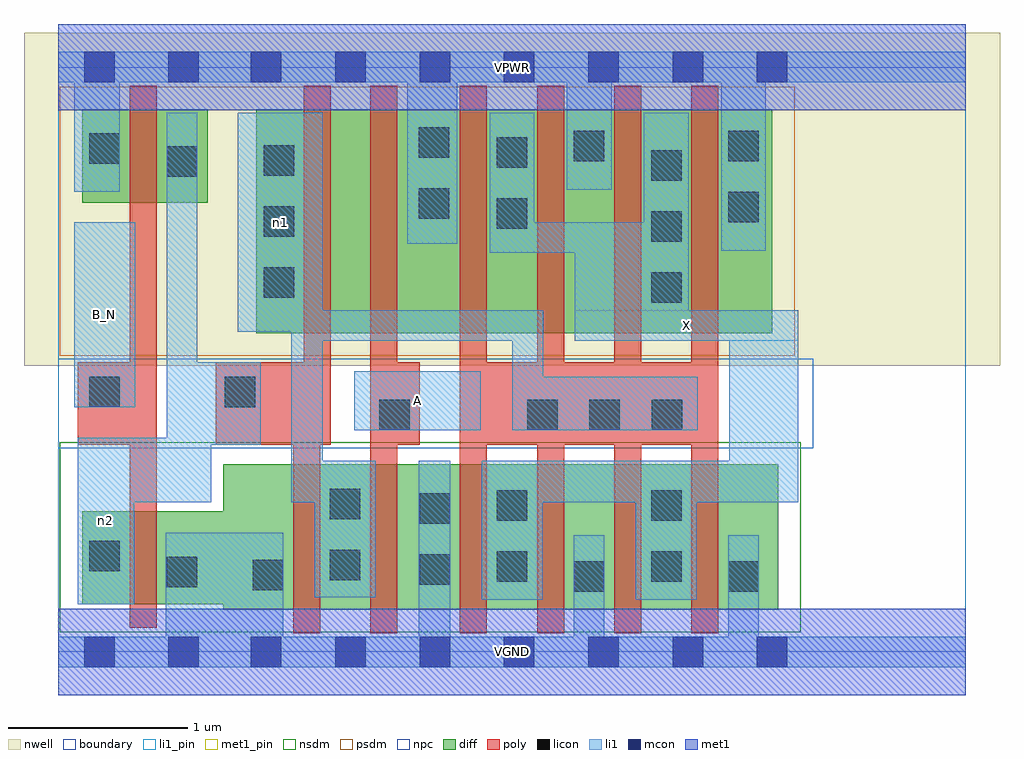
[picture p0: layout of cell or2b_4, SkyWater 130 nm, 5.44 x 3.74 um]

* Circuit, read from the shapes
.subckt or2b_4 A B_N VGND VPWR X n1 n2
XM1 VGND B_N n2 VSUBS sky130_fd_pr__nfet_01v8 w=0.52 l=0.15
XM2 n1 n2 VGND VSUBS sky130_fd_pr__nfet_01v8 w=0.81 l=0.15
XM3 VGND A n1 VSUBS sky130_fd_pr__nfet_01v8 w=0.81 l=0.15
XM4 X n1 VGND VSUBS sky130_fd_pr__nfet_01v8 w=0.81 l=0.15 m=4
XM5 n2 B_N VPWR n3 sky130_fd_pr__pfet_01v8 w=0.52 l=0.15
XM6 n4 n2 n1 n3 sky130_fd_pr__pfet_01v8 w=1.25 l=0.15
XM7 VPWR A n4 n3 sky130_fd_pr__pfet_01v8 w=1.25 l=0.15
XM8 X n1 VPWR n3 sky130_fd_pr__pfet_01v8 w=1.25 l=0.15 m=4
.ends

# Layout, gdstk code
import gdstk
lib = gdstk.Library(unit=1e-6, precision=1e-09)
def R(c, l, rs):  # rectangles x0, y0, x1, y1
    for r in rs: c.add(gdstk.rectangle(r[:2], r[2:], *l))
def A(c, l, x, y, w, h, nx, ny, dx, dy):  # array of equal rectangles
    R(c, l, [(x+i*dx, y+j*dy, x+i*dx+w, y+j*dy+h) for i in range(nx) for j in range(ny)])
nwell = (64, 20)
diff = (65, 20)
poly = (66, 20)
licon = (66, 44)
li1_pin = (67, 16)
li1 = (67, 20)
mcon = (67, 44)
met1_pin = (68, 16)
met1 = (68, 20)
nsdm = (93, 44)
psdm = (94, 20)
npc = (95, 20)
boundary = (235, 4)

or2b_4 = lib.new_cell('or2b_4')
R(or2b_4, nwell, [(-0.19,1.595,5.25,3.45), (0,1.595,5.06,3.45)])
R(or2b_4, diff, [(0.92,0.235,4.015,1.045), (0.135,0.265,4.015,0.785), (1.105,1.775,3.98,3.025), (0.135,2.505,0.835,3.025)])
A(or2b_4, poly, 2.24, 0.105, 0.15, 3.05, 4, 1, 0.43, 0)
R(or2b_4, poly, [(1.31,0.105,1.46,1.615), (1.74,0.105,1.89,3.155), (0.4,0.135,0.55,3.155), (0.11,1.155,0.55,1.615), (0.88,1.155,1.52,1.615), (1.37,1.155,1.52,3.155), (1.74,1.155,2.015,1.615), (2.24,1.155,3.68,1.615)])
A(or2b_4, licon, 3.305, 1.945, 0.17, 0.17, 1, 3, 0, 0.34)
A(or2b_4, licon, 1.145, 1.975, 0.17, 0.17, 1, 3, 0, 0.34)
R(or2b_4, licon, [(2.875,0.335,3.045,0.505), (3.735,0.335,3.905,0.505), (1.085,0.345,1.255,0.515), (0.605,0.36,0.775,0.53), (2.015,0.375,2.185,0.545), (2.445,0.39,2.615,0.56), (3.305,0.39,3.475,0.56), (1.515,0.4,1.685,0.57), (0.175,0.45,0.345,0.62), (2.015,0.715,2.185,0.885), (2.445,0.73,2.615,0.9), (3.305,0.73,3.475,0.9), (1.515,0.74,1.685,0.91), (1.79,1.235,1.96,1.405), (2.615,1.235,2.785,1.405), (2.96,1.235,3.13,1.405), (3.31,1.235,3.48,1.405), (0.175,1.365,0.345,1.535), (0.93,1.365,1.1,1.535), (2.445,2.36,2.615,2.53), (3.735,2.395,3.905,2.565), (2.01,2.415,2.18,2.585), (0.605,2.65,0.775,2.82), (2.445,2.7,2.615,2.87), (0.175,2.72,0.345,2.89), (2.875,2.735,3.045,2.905), (3.735,2.735,3.905,2.905), (2.01,2.755,2.18,2.925)])
R(or2b_4, li1_pin, [(1.65,1.235,2.355,1.565), (0.09,1.365,0.43,2.395), (2.88,1.735,4.125,1.905)])
R(or2b_4, li1, [(0,-0.085,5.06,0.085), (0.6,-0.085,1.255,0.665), (2.01,-0.085,2.185,1.065), (2.875,-0.085,3.045,0.65), (3.735,-0.085,3.905,0.65), (0.11,0.265,0.425,1.195), (2.36,0.29,2.7,1.065), (3.22,0.29,3.56,1.065), (1.43,0.305,1.77,1.065), (0.11,0.835,0.855,1.195), (0.605,0.835,0.775,3.005), (0.605,0.835,0.855,1.615), (1.3,0.835,1.475,3.005), (2.36,0.835,4.125,1.065), (3.74,0.835,4.125,1.905), (0.605,1.155,1.13,1.615), (1.65,1.235,2.355,1.565), (2.53,1.235,3.565,1.535), (2.53,1.235,2.705,1.905), (0.09,1.365,0.43,2.395), (1.3,1.735,2.705,1.905), (2.88,1.735,3.265,2.395), (2.88,1.735,4.125,1.905), (3.265,1.735,3.515,3.005), (1,1.785,1.475,3.005), (2.405,2.225,2.655,3.005), (2.405,2.225,3.515,2.395), (3.695,2.235,3.945,3.345), (1.945,2.275,2.225,3.345), (0.09,2.565,0.345,3.345), (2.835,2.575,3.085,3.345), (0,3.175,5.06,3.345)])
A(or2b_4, mcon, 1.075, -0.085, 0.17, 0.17, 7, 2, 0.47, 3.26)
R(or2b_4, mcon, [(0.145,-0.085,0.315,0.085), (0.615,-0.085,0.785,0.085), (0.145,3.175,0.315,3.345), (0.615,3.175,0.785,3.345)])
R(or2b_4, met1_pin, [(0,-0.24,5.06,0.24), (0,3.02,5.06,3.5)])
R(or2b_4, met1, [(0,-0.24,5.06,0.24), (0,3.02,5.06,3.5)])
R(or2b_4, nsdm, [(0.01,0.11,4.14,1.17)])
R(or2b_4, psdm, [(0.01,1.65,4.105,3.15)])
R(or2b_4, npc, [(0,1.135,4.21,1.635)])
R(or2b_4, boundary, [(0,0,5.06,3.26)])
or2b_4.add(gdstk.Label('A', (2.002,1.4), layer=67, texttype=5))
or2b_4.add(gdstk.Label('B_N', (0.26,1.88), layer=67, texttype=5))
or2b_4.add(gdstk.Label('X', (3.502,1.82), layer=67, texttype=5))
or2b_4.add(gdstk.Label('n2', (0.267,0.73), layer=67, texttype=5))
or2b_4.add(gdstk.Label('n1', (1.237,2.395), layer=67, texttype=5))
or2b_4.add(gdstk.Label('VPWR', (2.53,3.26), layer=68, texttype=5))
or2b_4.add(gdstk.Label('VGND', (2.53,0), layer=68, texttype=5))
or2b_4.add(gdstk.Label('A', (2.002,1.4), layer=67, texttype=16))
or2b_4.add(gdstk.Label('B_N', (0.26,1.88), layer=67, texttype=16))
or2b_4.add(gdstk.Label('X', (3.502,1.82), layer=67, texttype=16))
or2b_4.add(gdstk.Label('VPWR', (2.53,3.26), layer=68, texttype=16))
or2b_4.add(gdstk.Label('VGND', (2.53,0), layer=68, texttype=16))

lib.write_gds('or2b_4.gds')
